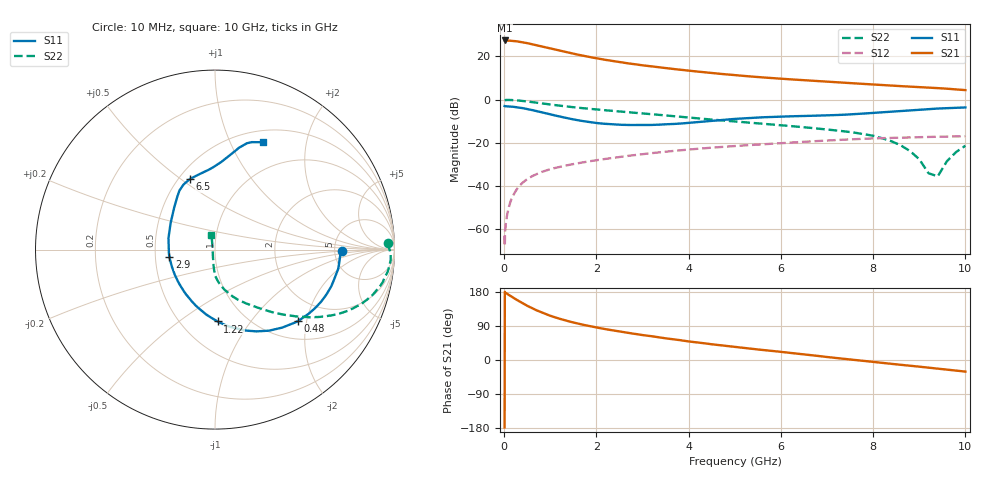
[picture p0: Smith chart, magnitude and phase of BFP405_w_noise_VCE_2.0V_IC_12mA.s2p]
! Infineon Technologies  Discrete & RF Semiconductors
! BFP405
! VCE =  2.0 V,  IC =  12 mA
! Common Emitter S-Parameters:  Jan 2016
# GHz  S  MA  R  50
!  f  S11  S21  S12  S22
! GHz  MAG  ANG  MAG  ANG  MAG  ANG  MAG  ANG
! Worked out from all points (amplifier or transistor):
!   233 points, 10 MHz to 10 GHz, reference 50 ohm
!   highest |S21| = 27.4 dB at 10 MHz (marker M1)
!   |S21| within 3 dB of that: start of sweep to 860.1 MHz
!   unconditionally stable (mu >= 1): start of sweep to 17.15 MHz; 2.345 GHz to end of sweep
!   at 200 MHz: K = 0.17, MSG = 35.7 dB, |S12| = -44.3 dB
!   at 1.74 GHz: K = 0.83, MSG = 24.6 dB, |S12| = -29.0 dB
!   at 10 GHz: K = 1.38, MAG = 7.0 dB, |S12| = -17.0 dB
!   lowest NFmin = 1.77 dB at 900 MHz
!   S11 on the Smith chart (normalised r, x): 10 MHz: 5.82, -0.17; 480 MHz: 1.41, -1.78; 1.22 GHz: 0.74, -0.71; 2.9 GHz: 0.59, -0.05; 6.5 GHz: 0.57, +0.54; 10 GHz: 0.64, +1.34
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0.01  0.7069 -0.6  23.41 -178.0  0.0007 0.5  0.9622 2.2
0.015  0.7034 -0.9  23.39 179.9  0.0004 70.6  0.9668 1.1
0.02  0.6999 -1.3  23.4 177.7  0.0009 117.6  0.9718 0.1
0.105  0.6937 -9.3  23.19 171.4  0.0033 87.3  0.98 -3.6
0.22  0.6747 -19.4  22.65 162.7  0.0067 81.6  0.9648 -8.2
0.4  0.6329 -34.3  21.27 149.6  0.0118 75.6  0.9282 -14.2
0.48  0.6099 -40.5  20.47 144.4  0.0138 73.2  0.9077 -16.6
0.6  0.5734 -49.3  19.22 136.9  0.0166 70.0  0.8747 -19.9
0.8  0.5114 -63.0  17.17 126.0  0.0207 66.1  0.8195 -24.4
1  0.4549 -75.1  15.26 116.7  0.0243 63.2  0.7681 -28.0
1.22  0.4006 -87.8  13.44 108.2  0.0278 60.9  0.7182 -31.2
1.48  0.3503 -101.9  11.65 99.5  0.0317 58.9  0.6679 -34.3
1.68  0.3203 -112.4  10.52 93.9  0.0346 57.8  0.6345 -36.3
2.2  0.2733 -138.6  8.305 81.3  0.0422 55.1  0.5639 -40.8
2.9  0.257 -170.6  6.427 67.7  0.0527 51.2  0.4876 -46.4
3.4  0.2629 169.7  5.514 59.1  0.0604 48.0  0.4375 -50.3
5.1  0.3614 125.6  3.6 33.2  0.0851 35.6  0.3034 -65.8
6.5  0.4178 109.4  2.811 14.7  0.1051 25.2  0.2282 -76.9
6.8  0.4242 104.4  2.677 10.8  0.1094 22.6  0.2125 -79.1
8.4  0.527 81.6  2.105 -10.2  0.1293 7.9  0.1077 -93.2
9.4  0.6186 73.3  1.84 -23.0  0.1373 -0.7  0.0166 144.9
10  0.6557 65.8  1.655 -30.6  0.141 -5.1  0.0851 103.5
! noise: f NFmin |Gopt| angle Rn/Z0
0.9  1.77  0.15  3  0.32
1.8  2.01  0.1  -12  0.29
2.4  2.13  0.09  -14  0.31
3  2.17  0.05  -9  0.29
4  2.32  0.08  -88  0.29
5  2.7  0.15  -96  0.31
